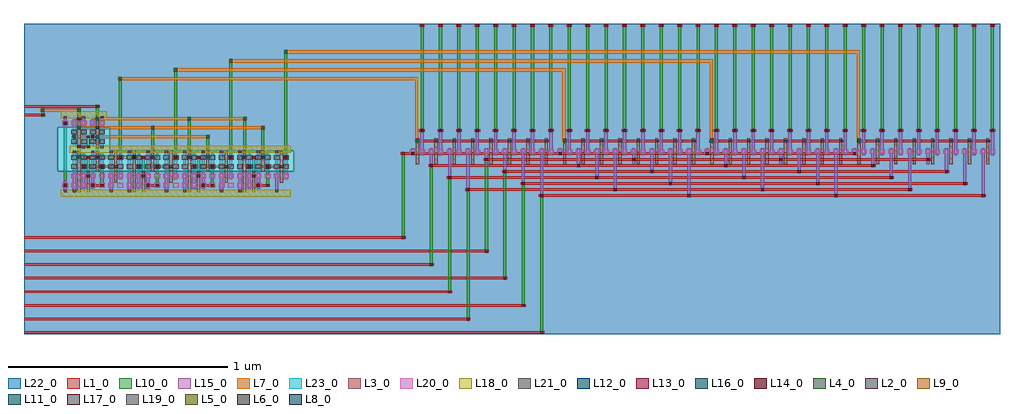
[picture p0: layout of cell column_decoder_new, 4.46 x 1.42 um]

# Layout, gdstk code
from math import pi, radians
import gdstk
lib = gdstk.Library(unit=1e-6, precision=2.5e-10)
def R(c, l, rs):  # rectangles x0, y0, x1, y1
    for r in rs: c.add(gdstk.rectangle(r[:2], r[2:], *l))
def A(c, l, x, y, w, h, nx, ny, dx, dy):  # array of equal rectangles
    R(c, l, [(x+i*dx, y+j*dy, x+i*dx+w, y+j*dy+h) for i in range(nx) for j in range(ny)])
def P(c, l, *ps):  # polygons
    for p in ps: c.add(gdstk.Polygon(p, *l))
L1_0 = (1, 0)
L2_0 = (2, 0)
L3_0 = (3, 0)
L4_0 = (4, 0)
L5_0 = (5, 0)
L6_0 = (6, 0)
L7_0 = (7, 0)
L8_0 = (8, 0)
L9_0 = (9, 0)
L10_0 = (10, 0)
L11_0 = (11, 0)
L12_0 = (12, 0)
L13_0 = (13, 0)
L14_0 = (14, 0)
L15_0 = (15, 0)
L16_0 = (16, 0)
L17_0 = (17, 0)
L18_0 = (18, 0)
L19_0 = (19, 0)
L20_0 = (20, 0)
L21_0 = (21, 0)
L22_0 = (22, 0)
L23_0 = (23, 0)

inv_2 = lib.new_cell('inv_2')
R(inv_2, L1_0, [(-0.011,0.016,0.011,0.027), (0.0085,0.0585,0.0335,0.0695)])
R(inv_2, L2_0, [(-0.0075,0.016,0.0075,0.027)])
R(inv_2, L3_0, [(-0.0075,-0.032,0.0075,0.116)])
R(inv_2, L4_0, [(-0.0075,0.015,0.0075,0.028)])
R(inv_2, L14_0, [(0.0145,0.0585,0.0275,0.0695)])
R(inv_2, L15_0, [(-0.0285,-0.031,-0.0135,0.0155), (0.0135,-0.0155,0.0285,0.1005), (-0.0285,0.027,-0.0135,0.116)])
R(inv_2, L16_0, [(0.0145,0.0575,0.0275,0.0705)])
R(inv_2, L17_0, [(-0.0285,-0.031,-0.0135,-0.0205), (-0.0285,0.1055,-0.0135,0.116)])
R(inv_2, L18_0, [(-0.042,-0.052,0.0415,-0.0205), (-0.042,0.1055,0.0415,0.137)])
R(inv_2, L19_0, [(-0.0285,-0.031,-0.0135,-0.0205), (-0.0285,0.1055,-0.0135,0.116)])
R(inv_2, L20_0, [(-0.0345,-0.0105,-0.0075,0.0105), (0.0075,-0.0105,0.0345,0.0105)])
R(inv_2, L21_0, [(-0.0345,0.032,-0.0075,0.053), (0.0075,0.032,0.0345,0.053), (-0.0345,0.0745,-0.0075,0.0955), (0.0075,0.0745,0.0345,0.0955)])
R(inv_2, L22_0, [(-0.0555,-0.052,0.0555,0.021), (-0.0555,0.116,0.0135,0.1165)])
R(inv_2, L23_0, [(-0.0555,0.021,0.0555,0.116), (-0.0555,0.1165,0.0555,0.1265)])

and_2 = lib.new_cell('and_2')
R(and_2, L1_0, [(0.495,0.2225,0.5605,0.2335), (0.4755,0.265,0.4975,0.276), (0.453,0.3075,0.6235,0.3185), (0.4335,0.35,0.4555,0.361), (0.4755,0.35,0.5395,0.361), (0.621,0.35,0.646,0.361)])
R(and_2, L2_0, [(0.479,0.265,0.494,0.276), (0.605,0.3075,0.62,0.3185), (0.437,0.35,0.452,0.361), (0.521,0.35,0.536,0.361)])
R(and_2, L3_0, [(0.437,0.196,0.452,0.3865), (0.479,0.196,0.494,0.29), (0.605,0.2395,0.62,0.3875), (0.521,0.29,0.536,0.3865)])
R(and_2, L4_0, [(0.479,0.264,0.494,0.277), (0.605,0.3065,0.62,0.3195), (0.437,0.349,0.452,0.362), (0.521,0.349,0.536,0.362)])
R(and_2, L10_0, [(0.5425,0.2205,0.5565,0.3205), (0.4795,0.263,0.4935,0.3625)])
R(and_2, L12_0, [(0.5425,0.223,0.5565,0.233), (0.4795,0.2655,0.4935,0.2755), (0.5425,0.308,0.5565,0.318), (0.4795,0.35,0.4935,0.36)])
R(and_2, L13_0, [(0.5425,0.223,0.5565,0.233), (0.4795,0.2655,0.4935,0.2755), (0.5425,0.308,0.5565,0.318), (0.4795,0.35,0.4935,0.36)])
R(and_2, L14_0, [(0.501,0.2225,0.514,0.2335), (0.459,0.3075,0.472,0.3185), (0.543,0.3075,0.556,0.3185), (0.627,0.35,0.64,0.361)])
A(and_2, L15_0, 0.416, 0.2975, 0.015, 0.089, 3, 1, 0.084, 0)
R(and_2, L15_0, [(0.416,0.197,0.431,0.286), (0.584,0.197,0.599,0.286), (0.458,0.2125,0.473,0.286), (0.5,0.2125,0.515,0.286), (0.626,0.255,0.641,0.371), (0.458,0.2975,0.473,0.371), (0.542,0.2975,0.557,0.371)])
R(and_2, L16_0, [(0.501,0.2215,0.514,0.2345), (0.459,0.3065,0.472,0.3195), (0.543,0.3065,0.556,0.3195), (0.627,0.349,0.64,0.362)])
A(and_2, L17_0, 0.416, 0.376, 0.015, 0.0105, 3, 1, 0.084, 0)
R(and_2, L17_0, [(0.416,0.197,0.431,0.2075), (0.584,0.197,0.599,0.2075)])
R(and_2, L18_0, [(0.4025,0.176,0.6545,0.2075), (0.4025,0.376,0.6545,0.4075)])
A(and_2, L19_0, 0.416, 0.376, 0.015, 0.0105, 3, 1, 0.084, 0)
R(and_2, L19_0, [(0.416,0.197,0.431,0.2075), (0.584,0.197,0.599,0.2075)])
A(and_2, L20_0, 0.41, 0.2175, 0.027, 0.021, 3, 1, 0.042, 0)
A(and_2, L20_0, 0.41, 0.26, 0.027, 0.021, 6, 1, 0.042, 0)
R(and_2, L20_0, [(0.389,0.2175,0.395,0.2385)])
A(and_2, L21_0, 0.41, 0.3025, 0.027, 0.021, 6, 2, 0.042, 0.0425)
R(and_2, L22_0, [(0.389,0.176,0.668,0.2915)])
P(and_2, L22_0, [(0.668,0.4075),(0.668,0.3865),(0.584,0.3865),(0.584,0.3965),(0.431,0.3965),(0.431,0.397),(0.584,0.397),(0.584,0.4075)])
R(and_2, L23_0, [(0.389,0.2915,0.668,0.3865)])

demu_2_4 = lib.new_cell('demu_2_4')
A(demu_2_4, L1_0, 0.2535, 0.2025, 0.014, 0.011, 3, 1, 0.252, 0)
R(demu_2_4, L1_0, [(-0.0045,0.0745,0.0205,0.0855), (0.144,0.2025,0.166,0.2125), (1.0085,0.2025,1.0235,0.2135), (0.06,0.203,0.082,0.213), (0.312,0.203,0.334,0.213), (0.396,0.203,0.418,0.213), (0.564,0.203,0.586,0.213), (0.648,0.203,0.67,0.213), (0.816,0.203,0.838,0.213), (0.9,0.203,0.922,0.213), (0.06,0.2515,0.124,0.2625), (0.102,0.296,0.1465,0.307), (0.039,0.2965,0.061,0.3065), (0.06,0.3385,0.082,0.3485), (0.144,0.3385,0.166,0.3485), (-0.0045,0.359,0.0205,0.37), (0.06,0.379,0.082,0.39), (0.144,0.379,0.166,0.39)])
A(demu_2_4, L3_0, 0.1055, 0.0485, 0.015, 0.094, 4, 1, 0.252, 0)
A(demu_2_4, L3_0, 0.3155, 0.0485, 0.015, 0.1915, 3, 1, 0.252, 0)
A(demu_2_4, L3_0, 0.2315, 0.092, 0.015, 0.148, 4, 1, 0.252, 0)
A(demu_2_4, L3_0, 0.3995, 0.1425, 0.015, 0.0975, 3, 1, 0.252, 0)
R(demu_2_4, L3_0, [(0.0635,0.0485,0.0785,0.239), (0.1475,0.1425,0.1625,0.239), (0.0635,0.2495,0.0785,0.3975), (0.1475,0.2495,0.1625,0.3975)])
R(demu_2_4, L5_0, [(0.3155,0.198,0.3305,0.218)])
R(demu_2_4, L6_0, [(0.316,0.201,0.33,0.215)])
R(demu_2_4, L7_0, [(0.061,0.201,0.333,0.215), (0.649,0.201,0.669,0.215), (0.04,0.2945,0.669,0.3085), (0.061,0.3365,0.921,0.3505), (0.145,0.3775,0.837,0.3915)])
R(demu_2_4, L8_0, [(0.316,0.201,0.33,0.215)])
R(demu_2_4, L9_0, [(0.064,0.201,0.078,0.215), (0.316,0.201,0.33,0.215), (0.652,0.201,0.666,0.215), (0.043,0.2945,0.057,0.3085), (0.148,0.2945,0.162,0.3085), (0.652,0.2945,0.666,0.3085), (0.064,0.3365,0.078,0.3505), (0.4,0.3365,0.414,0.3505), (0.904,0.3365,0.918,0.3505), (0.148,0.3775,0.162,0.3915), (0.568,0.3775,0.582,0.3915), (0.82,0.3775,0.834,0.3915)])
R(demu_2_4, L10_0, [(0.001,0.0725,0.015,0.372), (0.148,0.1975,0.162,0.3115), (0.064,0.198,0.078,0.2645), (0.316,0.198,0.33,0.218), (0.652,0.198,0.666,0.3115), (0.4,0.2005,0.414,0.3535), (0.568,0.2005,0.582,0.3945), (0.82,0.2005,0.834,0.3945), (0.904,0.2005,0.918,0.3535), (0.106,0.2495,0.12,0.309), (0.043,0.2915,0.057,0.3115), (0.064,0.3335,0.078,0.392), (0.148,0.336,0.162,0.3945)])
R(demu_2_4, L11_0, [(0.064,0.201,0.078,0.215), (0.316,0.201,0.33,0.215), (0.652,0.201,0.666,0.215), (0.043,0.2945,0.057,0.3085), (0.148,0.2945,0.162,0.3085), (0.652,0.2945,0.666,0.3085), (0.064,0.3365,0.078,0.3505), (0.4,0.3365,0.414,0.3505), (0.904,0.3365,0.918,0.3505), (0.148,0.3775,0.162,0.3915), (0.568,0.3775,0.582,0.3915), (0.82,0.3775,0.834,0.3915)])
R(demu_2_4, L12_0, [(0.001,0.075,0.015,0.085), (0.148,0.2025,0.162,0.2125), (0.064,0.203,0.078,0.213), (0.316,0.203,0.33,0.213), (0.4,0.203,0.414,0.213), (0.568,0.203,0.582,0.213), (0.652,0.203,0.666,0.213), (0.82,0.203,0.834,0.213), (0.904,0.203,0.918,0.213), (0.064,0.252,0.078,0.262), (0.106,0.252,0.12,0.262), (0.043,0.2965,0.057,0.3065), (0.106,0.2965,0.12,0.3065), (0.064,0.3385,0.078,0.3485), (0.148,0.3385,0.162,0.3485), (0.001,0.3595,0.015,0.3695), (0.064,0.3795,0.078,0.3895), (0.148,0.3795,0.162,0.3895)])
R(demu_2_4, L13_0, [(0.001,0.075,0.015,0.085), (0.148,0.2025,0.162,0.2125), (0.064,0.203,0.078,0.213), (0.316,0.203,0.33,0.213), (0.4,0.203,0.414,0.213), (0.568,0.203,0.582,0.213), (0.652,0.203,0.666,0.213), (0.82,0.203,0.834,0.213), (0.904,0.203,0.918,0.213), (0.064,0.252,0.078,0.262), (0.106,0.252,0.12,0.262), (0.043,0.2965,0.057,0.3065), (0.106,0.2965,0.12,0.3065), (0.064,0.3385,0.078,0.3485), (0.148,0.3385,0.162,0.3485), (0.001,0.3595,0.015,0.3695), (0.064,0.3795,0.078,0.3895), (0.148,0.3795,0.162,0.3895)])
R(demu_2_4, L14_0, [(0.0015,0.0745,0.0145,0.0855), (0.0015,0.359,0.0145,0.37)])
R(demu_2_4, L15_0, [(0.0005,0.0495,0.0155,0.1005), (0.0005,0.344,0.0155,0.3965)])
R(demu_2_4, L16_0, [(0.0015,0.0735,0.0145,0.0865), (0.0015,0.358,0.0145,0.371)])
R(demu_2_4, L17_0, [(0.0005,0.0495,0.0155,0.06), (0.0005,0.386,0.0155,0.3965)])
R(demu_2_4, L18_0, [(-0.013,0.0285,0.029,0.06), (0.2445,0.2445,0.267,0.2575), (-0.013,0.386,0.0295,0.4175), (0.113,0.386,0.1135,0.4175), (0.076,0.4045,0.096,0.414)])
R(demu_2_4, L19_0, [(0.0005,0.0495,0.0155,0.06), (0.0005,0.386,0.0155,0.3965)])
A(demu_2_4, L20_0, -0.0055, 0.07, 0.021, 0.021, 4, 1, 0.252, 0)
A(demu_2_4, L20_0, 0.0365, 0.07, 0.027, 0.021, 5, 1, 0.042, 0)
A(demu_2_4, L20_0, 0.2885, 0.07, 0.027, 0.021, 5, 1, 0.042, 0)
A(demu_2_4, L20_0, 0.5405, 0.07, 0.027, 0.021, 5, 1, 0.042, 0)
A(demu_2_4, L20_0, 0.7925, 0.07, 0.027, 0.021, 3, 2, 0.042, 0.0425)
A(demu_2_4, L20_0, 0.0365, 0.1125, 0.027, 0.021, 3, 1, 0.042, 0)
A(demu_2_4, L20_0, 0.2885, 0.1125, 0.027, 0.021, 3, 1, 0.042, 0)
A(demu_2_4, L20_0, 0.5405, 0.1125, 0.027, 0.021, 3, 1, 0.042, 0)
R(demu_2_4, L20_0, [(-0.0055,0.355,0.0215,0.376)])
A(demu_2_4, L21_0, 0.0365, 0.155, 0.027, 0.021, 24, 2, 0.042, 0.0425)
A(demu_2_4, L21_0, 0.0365, 0.27, 0.027, 0.021, 4, 2, 0.042, 0.0425)
P(demu_2_4, L22_0, [(1.0505,0.4175),(1.0505,0.239),(0.2105,0.239),(0.2105,0.249),(0.0575,0.249),(0.0575,0.2495),(0.2105,0.2495),(0.2105,0.3445),(-0.0265,0.3445),(-0.0265,0.144),(1.0505,0.144),(1.0505,0.0285),(-0.0315,0.0285),(-0.0315,0.4175)])
P(demu_2_4, L23_0, [(0.0575,0.3445),(0.0575,0.249),(0.2105,0.249),(0.2105,0.239),(0.0155,0.239),(0.0155,0.144),(-0.0265,0.144),(-0.0265,0.3445)])
demu_2_4.add(gdstk.Reference(inv_2, (0.155,0.3655), rotation=pi))
demu_2_4.add(gdstk.Reference(inv_2, (0.071,0.3655), rotation=pi))
demu_2_4.add(gdstk.Reference(and_2, (-0.1215,-0.1475)))
demu_2_4.add(gdstk.Reference(and_2, (0.1305,-0.1475)))
demu_2_4.add(gdstk.Reference(and_2, (0.3825,-0.1475)))
demu_2_4.add(gdstk.Reference(and_2, (-0.3735,-0.1475)))

column_decoder_new = lib.new_cell('column_decoder_new')
A(column_decoder_new, L1_0, -1.305, 0.064, 0.022, 0.01, 4, 1, 0.252, 0)
A(column_decoder_new, L1_0, 0.0515, 0.1385, 0.61, 0.011, 4, 1, 0.672, 0)
A(column_decoder_new, L1_0, 0.071, 0.1865, 0.025, 0.011, 32, 1, 0.084, 0)
A(column_decoder_new, L1_0, 0.0725, 0.6655, 0.022, 0.011, 32, 1, 0.084, 0)
R(column_decoder_new, L1_0, [(-1.734,-0.736,0.6405,-0.725), (-1.734,-0.674,0.3045,-0.663), (-1.734,-0.612,0.5565,-0.601), (-1.734,-0.55,0.2205,-0.539), (-1.734,-0.488,0.4725,-0.477), (-1.734,-0.426,0.1365,-0.415), (-1.734,-0.364,0.3885,-0.353), (-1.734,-0.302,0.0085,-0.291), (0.617,-0.111,2.658,-0.1), (0.281,-0.0835,2.322,-0.0725), (0.533,-0.056,2.574,-0.045), (0.197,-0.0285,2.238,-0.0175), (0.449,-0.001,2.49,0.01), (0.113,0.0265,2.154,0.0375), (0.365,0.054,2.406,0.065), (-0.0135,0.0815,2.07,0.0925), (-1.734,0.2575,-1.638,0.2685), (-1.734,0.2965,-1.388,0.3075)])
A(column_decoder_new, L2_0, 0.055, 0.1385, 0.015, 0.011, 32, 1, 0.084, 0)
A(column_decoder_new, L3_0, 0.055, 0.037, 0.015, 0.1185, 32, 1, 0.084, 0)
A(column_decoder_new, L4_0, 0.055, 0.1375, 0.015, 0.013, 32, 1, 0.084, 0)
R(column_decoder_new, L7_0, [(-1.659,0.277,-1.473,0.291)])
P(column_decoder_new, L7_0, [(2.0825,0.557),(2.0825,0.151),(2.0885,0.151),(2.0885,0.137),(2.0685,0.137),(2.0685,0.543),(-0.548,0.543),(-0.548,0.557)],
  [(1.4105,0.516),(1.4105,0.151),(1.4165,0.151),(1.4165,0.137),(1.3965,0.137),(1.3965,0.502),(-0.8,0.502),(-0.8,0.516)],
  [(0.7385,0.475),(0.7385,0.151),(0.7445,0.151),(0.7445,0.137),(0.7245,0.137),(0.7245,0.461),(-1.052,0.461),(-1.052,0.475)],
  [(0.0665,0.434),(0.0665,0.151),(0.0725,0.151),(0.0725,0.137),(0.0525,0.137),(0.0525,0.42),(-1.304,0.42),(-1.304,0.434)])
A(column_decoder_new, L9_0, 0.0555, 0.137, 0.014, 0.014, 4, 1, 0.672, 0)
R(column_decoder_new, L9_0, [(-1.656,0.277,-1.642,0.291), (-1.49,0.277,-1.476,0.291), (-1.301,0.42,-1.287,0.434), (-1.049,0.461,-1.035,0.475), (-0.797,0.502,-0.783,0.516), (-0.545,0.543,-0.531,0.557)])
A(column_decoder_new, L10_0, 0.0555, 0.134, 0.014, 0.02, 4, 1, 0.672, 0)
A(column_decoder_new, L10_0, 0.0765, 0.1845, 0.014, 0.494, 32, 1, 0.084, 0)
R(column_decoder_new, L10_0, [(0.6225,-0.738,0.6365,-0.098), (0.2865,-0.676,0.3005,-0.0705), (0.5385,-0.614,0.5525,-0.043), (0.2025,-0.552,0.2165,-0.0155), (0.4545,-0.49,0.4685,0.012), (0.1185,-0.428,0.1325,0.0395), (0.3705,-0.366,0.3845,0.067), (-0.0095,-0.304,0.0045,0.0945), (-1.301,0.0615,-1.287,0.437), (-1.049,0.0615,-1.035,0.478), (-0.797,0.0615,-0.783,0.519), (-0.545,0.0615,-0.531,0.56), (-1.406,0.2385,-1.392,0.3095), (-1.49,0.24,-1.476,0.294), (-1.656,0.2555,-1.642,0.294)])
A(column_decoder_new, L11_0, 0.0555, 0.137, 0.014, 0.014, 4, 1, 0.672, 0)
R(column_decoder_new, L11_0, [(-1.656,0.277,-1.642,0.291), (-1.49,0.277,-1.476,0.291), (-1.301,0.42,-1.287,0.434), (-1.049,0.461,-1.035,0.475), (-0.797,0.502,-0.783,0.516), (-0.545,0.543,-0.531,0.557)])
A(column_decoder_new, L12_0, -1.301, 0.064, 0.014, 0.01, 4, 1, 0.252, 0)
A(column_decoder_new, L12_0, 0.0555, 0.139, 0.014, 0.01, 4, 1, 0.672, 0)
A(column_decoder_new, L12_0, 0.0765, 0.187, 0.014, 0.01, 32, 2, 0.084, 0.479)
R(column_decoder_new, L12_0, [(0.6225,-0.7355,0.6365,-0.7255), (0.2865,-0.6735,0.3005,-0.6635), (0.5385,-0.6115,0.5525,-0.6015), (0.2025,-0.5495,0.2165,-0.5395), (0.4545,-0.4875,0.4685,-0.4775), (0.1185,-0.4255,0.1325,-0.4155), (0.3705,-0.3635,0.3845,-0.3535), (-0.0095,-0.3015,0.0045,-0.2915), (0.6225,-0.1105,0.6365,-0.1005), (0.2865,-0.083,0.3005,-0.073), (0.5385,-0.0555,0.5525,-0.0455), (0.2025,-0.028,0.2165,-0.018), (0.4545,-0.0005,0.4685,0.0095), (0.1185,0.027,0.1325,0.037), (0.3705,0.0545,0.3845,0.0645), (-0.0095,0.082,0.0045,0.092), (-1.656,0.258,-1.642,0.268), (-1.406,0.297,-1.392,0.307)])
A(column_decoder_new, L13_0, -1.301, 0.064, 0.014, 0.01, 4, 1, 0.252, 0)
A(column_decoder_new, L13_0, 0.0555, 0.139, 0.014, 0.01, 4, 1, 0.672, 0)
A(column_decoder_new, L13_0, 0.0765, 0.187, 0.014, 0.01, 32, 2, 0.084, 0.479)
R(column_decoder_new, L13_0, [(0.6225,-0.7355,0.6365,-0.7255), (0.2865,-0.6735,0.3005,-0.6635), (0.5385,-0.6115,0.5525,-0.6015), (0.2025,-0.5495,0.2165,-0.5395), (0.4545,-0.4875,0.4685,-0.4775), (0.1185,-0.4255,0.1325,-0.4155), (0.3705,-0.3635,0.3845,-0.3535), (-0.0095,-0.3015,0.0045,-0.2915), (0.6225,-0.1105,0.6365,-0.1005), (0.2865,-0.083,0.3005,-0.073), (0.5385,-0.0555,0.5525,-0.0455), (0.2025,-0.028,0.2165,-0.018), (0.4545,-0.0005,0.4685,0.0095), (0.1185,0.027,0.1325,0.037), (0.3705,0.0545,0.3845,0.0645), (-0.0095,0.082,0.0045,0.092), (-1.656,0.258,-1.642,0.268), (-1.406,0.297,-1.392,0.307)])
A(column_decoder_new, L14_0, 0.623, -0.111, 0.013, 0.011, 4, 1, 0.672, 0)
A(column_decoder_new, L14_0, 0.287, -0.0835, 0.013, 0.011, 4, 1, 0.672, 0)
A(column_decoder_new, L14_0, 0.539, -0.056, 0.013, 0.011, 4, 1, 0.672, 0)
A(column_decoder_new, L14_0, 0.203, -0.0285, 0.013, 0.011, 4, 1, 0.672, 0)
A(column_decoder_new, L14_0, 0.455, -0.001, 0.013, 0.011, 4, 1, 0.672, 0)
A(column_decoder_new, L14_0, 0.119, 0.0265, 0.013, 0.011, 4, 1, 0.672, 0)
A(column_decoder_new, L14_0, 0.371, 0.054, 0.013, 0.011, 4, 1, 0.672, 0)
A(column_decoder_new, L14_0, 0.035, 0.0815, 0.013, 0.011, 4, 1, 0.672, 0)
A(column_decoder_new, L14_0, 0.077, 0.1865, 0.013, 0.011, 32, 1, 0.084, 0)
A(column_decoder_new, L15_0, 0.622, -0.113, 0.015, 0.2235, 4, 1, 0.672, 0)
A(column_decoder_new, L15_0, 0.286, -0.0855, 0.015, 0.196, 4, 1, 0.672, 0)
A(column_decoder_new, L15_0, 0.538, -0.058, 0.015, 0.1685, 4, 1, 0.672, 0)
A(column_decoder_new, L15_0, 0.202, -0.03, 0.015, 0.1405, 4, 1, 0.672, 0)
A(column_decoder_new, L15_0, 0.454, -0.003, 0.015, 0.1135, 4, 1, 0.672, 0)
A(column_decoder_new, L15_0, 0.118, 0.0245, 0.015, 0.086, 4, 1, 0.672, 0)
A(column_decoder_new, L15_0, 0.37, 0.038, 0.015, 0.0725, 4, 1, 0.672, 0)
A(column_decoder_new, L15_0, 0.034, 0.0795, 0.015, 0.031, 4, 1, 0.672, 0)
A(column_decoder_new, L15_0, 0.076, 0.0795, 0.015, 0.12, 32, 1, 0.084, 0)
A(column_decoder_new, L16_0, 0.623, -0.112, 0.013, 0.013, 4, 1, 0.672, 0)
A(column_decoder_new, L16_0, 0.287, -0.0845, 0.013, 0.013, 4, 1, 0.672, 0)
A(column_decoder_new, L16_0, 0.539, -0.057, 0.013, 0.013, 4, 1, 0.672, 0)
A(column_decoder_new, L16_0, 0.203, -0.0295, 0.013, 0.013, 4, 1, 0.672, 0)
A(column_decoder_new, L16_0, 0.455, -0.002, 0.013, 0.013, 4, 1, 0.672, 0)
A(column_decoder_new, L16_0, 0.119, 0.0255, 0.013, 0.013, 4, 1, 0.672, 0)
A(column_decoder_new, L16_0, 0.371, 0.053, 0.013, 0.013, 4, 1, 0.672, 0)
A(column_decoder_new, L16_0, 0.035, 0.0805, 0.013, 0.013, 4, 1, 0.672, 0)
A(column_decoder_new, L16_0, 0.077, 0.1855, 0.013, 0.013, 32, 1, 0.084, 0)
R(column_decoder_new, L18_0, [(-1.0535,-0.1065,-1.028,-0.092), (-1.059,0.095,-1.025,0.1175)])
A(column_decoder_new, L20_0, 0.028, 0.0845, 0.027, 0.021, 64, 1, 0.042, 0)
P(column_decoder_new, L22_0, [(2.722,0.6785),(2.722,0.2785),(-1.5855,0.2785),(-1.5855,-0.1105),(-0.5035,-0.1105),(-0.5035,0.2785),(2.722,0.2785),(2.722,-0.738),(-1.734,-0.738),(-1.734,0.6785)])
column_decoder_new.add(gdstk.Reference(demu_2_4, (-1.554,-0.139)))

lib.write_gds('column_decoder_new.gds')
